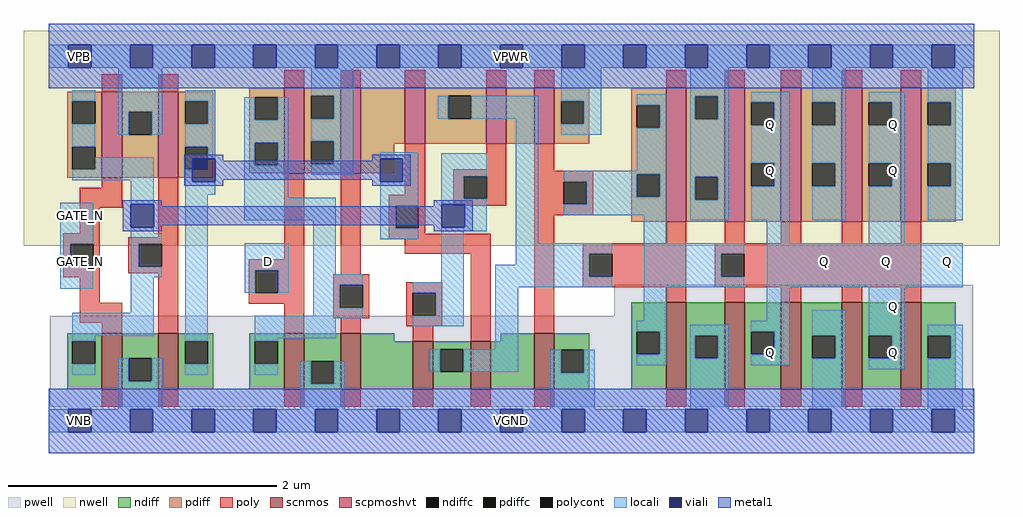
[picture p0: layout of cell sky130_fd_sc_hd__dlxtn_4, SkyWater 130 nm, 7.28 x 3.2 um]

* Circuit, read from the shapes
.subckt sky130_fd_sc_hd__dlxtn_4 D GATE_N VGND VNB VPB VPWR Q
XM1 VGND GATE_N n1 VNB sky130_fd_pr__nfet_01v8 w=0.42 l=0.15
XM2 n2 n1 VGND VNB sky130_fd_pr__nfet_01v8 w=0.42 l=0.15
XM3 VGND D n3 VNB sky130_fd_pr__nfet_01v8 w=0.42 l=0.15
XM4 n4 n3 VGND VNB sky130_fd_pr__nfet_01v8 w=0.42 l=0.15
XM5 n5 n1 n4 VNB sky130_fd_pr__nfet_01v8 w=0.36 l=0.15
XM6 n6 n2 n5 VNB sky130_fd_pr__nfet_01v8 w=0.36 l=0.15
XM7 VGND n7 n6 VNB sky130_fd_pr__nfet_01v8 w=0.42 l=0.15
XM8 VGND n5 n7 VNB sky130_fd_pr__nfet_01v8 w=0.65 l=0.15
XM9 Q n7 VGND VNB sky130_fd_pr__nfet_01v8 w=0.65 l=0.15 m=4
XM10 VPWR GATE_N n1 VPB sky130_fd_pr__pfet_01v8_hvt w=0.64 l=0.15
XM11 n2 n1 VPWR VPB sky130_fd_pr__pfet_01v8_hvt w=0.64 l=0.15
XM12 VPWR D n3 VPB sky130_fd_pr__pfet_01v8_hvt w=0.64 l=0.15
XM13 n8 n3 VPWR VPB sky130_fd_pr__pfet_01v8_hvt w=0.64 l=0.15
XM14 n5 n2 n8 VPB sky130_fd_pr__pfet_01v8_hvt w=0.42 l=0.15
XM15 n9 n1 n5 VPB sky130_fd_pr__pfet_01v8_hvt w=0.42 l=0.15
XM16 VPWR n7 n9 VPB sky130_fd_pr__pfet_01v8_hvt w=0.42 l=0.15
XM17 VPWR n5 n7 VPB sky130_fd_pr__pfet_01v8_hvt w=1 l=0.15
XM18 Q n7 VPWR VPB sky130_fd_pr__pfet_01v8_hvt w=1 l=0.15 m=4
.ends

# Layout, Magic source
magic
tech sky130B
magscale 1 2
<< nwell >>
rect -38 261 1418 582
<< pwell >>
rect 843 157 1379 203
rect 1 21 1379 157
rect 29 -17 63 21
<< scnmos >>
rect 79 47 109 131
rect 163 47 193 131
rect 351 47 381 131
rect 435 47 465 131
rect 543 47 573 119
rect 629 47 659 119
rect 724 47 754 131
rect 921 47 951 177
rect 1008 47 1038 177
rect 1092 47 1122 177
rect 1183 47 1213 177
rect 1271 47 1301 177
<< scpmoshvt >>
rect 79 363 109 491
rect 163 363 193 491
rect 351 369 381 497
rect 435 369 465 497
rect 531 413 561 497
rect 652 413 682 497
rect 724 413 754 497
rect 921 297 951 497
rect 1008 297 1038 497
rect 1092 297 1122 497
rect 1183 297 1213 497
rect 1271 297 1301 497
<< ndiff >>
rect 27 119 79 131
rect 27 85 35 119
rect 69 85 79 119
rect 27 47 79 85
rect 109 93 163 131
rect 109 59 119 93
rect 153 59 163 93
rect 109 47 163 59
rect 193 119 245 131
rect 193 85 203 119
rect 237 85 245 119
rect 193 47 245 85
rect 299 119 351 131
rect 299 85 307 119
rect 341 85 351 119
rect 299 47 351 85
rect 381 89 435 131
rect 381 55 391 89
rect 425 55 435 89
rect 381 47 435 55
rect 465 119 515 131
rect 869 133 921 177
rect 674 119 724 131
rect 465 47 543 119
rect 573 107 629 119
rect 573 73 584 107
rect 618 73 629 107
rect 573 47 629 73
rect 659 47 724 119
rect 754 106 806 131
rect 754 72 764 106
rect 798 72 806 106
rect 754 47 806 72
rect 869 99 877 133
rect 911 99 921 133
rect 869 47 921 99
rect 951 127 1008 177
rect 951 93 964 127
rect 998 93 1008 127
rect 951 47 1008 93
rect 1038 133 1092 177
rect 1038 99 1048 133
rect 1082 99 1092 133
rect 1038 47 1092 99
rect 1122 127 1183 177
rect 1122 93 1139 127
rect 1173 93 1183 127
rect 1122 47 1183 93
rect 1213 127 1271 177
rect 1213 93 1223 127
rect 1257 93 1271 127
rect 1213 47 1271 93
rect 1301 127 1353 177
rect 1301 93 1311 127
rect 1345 93 1353 127
rect 1301 47 1353 93
<< pdiff >>
rect 27 477 79 491
rect 27 443 35 477
rect 69 443 79 477
rect 27 409 79 443
rect 27 375 35 409
rect 69 375 79 409
rect 27 363 79 375
rect 109 461 163 491
rect 109 427 119 461
rect 153 427 163 461
rect 109 363 163 427
rect 193 477 245 491
rect 193 443 203 477
rect 237 443 245 477
rect 193 409 245 443
rect 193 375 203 409
rect 237 375 245 409
rect 193 363 245 375
rect 299 483 351 497
rect 299 449 307 483
rect 341 449 351 483
rect 299 415 351 449
rect 299 381 307 415
rect 341 381 351 415
rect 299 369 351 381
rect 381 485 435 497
rect 381 451 391 485
rect 425 451 435 485
rect 381 417 435 451
rect 381 383 391 417
rect 425 383 435 417
rect 381 369 435 383
rect 465 413 531 497
rect 561 485 652 497
rect 561 451 596 485
rect 630 451 652 485
rect 561 413 652 451
rect 682 413 724 497
rect 754 477 806 497
rect 754 443 764 477
rect 798 443 806 477
rect 754 413 806 443
rect 869 471 921 497
rect 869 437 877 471
rect 911 437 921 471
rect 465 369 515 413
rect 869 368 921 437
rect 869 334 877 368
rect 911 334 921 368
rect 869 297 921 334
rect 951 484 1008 497
rect 951 450 964 484
rect 998 450 1008 484
rect 951 364 1008 450
rect 951 330 964 364
rect 998 330 1008 364
rect 951 297 1008 330
rect 1038 475 1092 497
rect 1038 441 1048 475
rect 1082 441 1092 475
rect 1038 384 1092 441
rect 1038 350 1048 384
rect 1082 350 1092 384
rect 1038 297 1092 350
rect 1122 475 1183 497
rect 1122 441 1139 475
rect 1173 441 1183 475
rect 1122 384 1183 441
rect 1122 350 1139 384
rect 1173 350 1183 384
rect 1122 297 1183 350
rect 1213 475 1271 497
rect 1213 441 1223 475
rect 1257 441 1271 475
rect 1213 384 1271 441
rect 1213 350 1223 384
rect 1257 350 1271 384
rect 1213 297 1271 350
rect 1301 475 1353 497
rect 1301 441 1311 475
rect 1345 441 1353 475
rect 1301 384 1353 441
rect 1301 350 1311 384
rect 1345 350 1353 384
rect 1301 297 1353 350
<< ndiffc >>
rect 35 85 69 119
rect 119 59 153 93
rect 203 85 237 119
rect 307 85 341 119
rect 391 55 425 89
rect 584 73 618 107
rect 764 72 798 106
rect 877 99 911 133
rect 964 93 998 127
rect 1048 99 1082 133
rect 1139 93 1173 127
rect 1223 93 1257 127
rect 1311 93 1345 127
<< pdiffc >>
rect 35 443 69 477
rect 35 375 69 409
rect 119 427 153 461
rect 203 443 237 477
rect 203 375 237 409
rect 307 449 341 483
rect 307 381 341 415
rect 391 451 425 485
rect 391 383 425 417
rect 596 451 630 485
rect 764 443 798 477
rect 877 437 911 471
rect 877 334 911 368
rect 964 450 998 484
rect 964 330 998 364
rect 1048 441 1082 475
rect 1048 350 1082 384
rect 1139 441 1173 475
rect 1139 350 1173 384
rect 1223 441 1257 475
rect 1223 350 1257 384
rect 1311 441 1345 475
rect 1311 350 1345 384
<< poly >>
rect 79 491 109 517
rect 163 491 193 517
rect 351 497 381 523
rect 435 497 465 523
rect 531 497 561 523
rect 652 497 682 523
rect 724 497 754 523
rect 921 497 951 523
rect 1008 497 1038 523
rect 1092 497 1122 523
rect 1183 497 1213 523
rect 1271 497 1301 523
rect 79 348 109 363
rect 46 318 109 348
rect 46 280 76 318
rect 21 264 76 280
rect 163 274 193 363
rect 21 230 32 264
rect 66 230 76 264
rect 21 214 76 230
rect 118 264 193 274
rect 118 230 134 264
rect 168 230 193 264
rect 351 241 381 369
rect 118 220 193 230
rect 46 176 76 214
rect 46 146 109 176
rect 79 131 109 146
rect 163 131 193 220
rect 298 225 381 241
rect 298 191 308 225
rect 342 191 381 225
rect 435 219 465 369
rect 531 337 561 413
rect 652 375 682 413
rect 507 321 561 337
rect 603 365 682 375
rect 603 331 619 365
rect 653 331 682 365
rect 603 321 682 331
rect 724 373 754 413
rect 724 357 812 373
rect 724 323 768 357
rect 802 323 812 357
rect 507 287 517 321
rect 551 287 561 321
rect 507 279 561 287
rect 724 307 812 323
rect 507 271 659 279
rect 531 249 659 271
rect 298 175 381 191
rect 351 131 381 175
rect 424 203 478 219
rect 424 169 434 203
rect 468 169 478 203
rect 424 153 478 169
rect 533 191 587 207
rect 533 157 543 191
rect 577 157 587 191
rect 435 131 465 153
rect 533 141 587 157
rect 543 119 573 141
rect 629 119 659 249
rect 724 131 754 307
rect 921 265 951 297
rect 1008 265 1038 297
rect 1092 265 1122 297
rect 1183 265 1213 297
rect 1271 265 1301 297
rect 796 249 951 265
rect 796 215 806 249
rect 840 215 951 249
rect 796 199 951 215
rect 993 249 1301 265
rect 993 215 1003 249
rect 1037 215 1301 249
rect 993 199 1301 215
rect 921 177 951 199
rect 1008 177 1038 199
rect 1092 177 1122 199
rect 1183 177 1213 199
rect 1271 177 1301 199
rect 79 21 109 47
rect 163 21 193 47
rect 351 21 381 47
rect 435 21 465 47
rect 543 21 573 47
rect 629 21 659 47
rect 724 21 754 47
rect 921 21 951 47
rect 1008 21 1038 47
rect 1092 21 1122 47
rect 1183 21 1213 47
rect 1271 21 1301 47
<< polycont >>
rect 32 230 66 264
rect 134 230 168 264
rect 308 191 342 225
rect 619 331 653 365
rect 768 323 802 357
rect 517 287 551 321
rect 434 169 468 203
rect 543 157 577 191
rect 806 215 840 249
rect 1003 215 1037 249
<< locali >>
rect 0 527 29 561
rect 63 527 121 561
rect 155 527 213 561
rect 247 527 305 561
rect 339 527 397 561
rect 431 527 489 561
rect 523 527 581 561
rect 615 527 673 561
rect 707 527 765 561
rect 799 527 857 561
rect 891 527 949 561
rect 983 527 1041 561
rect 1075 527 1133 561
rect 1167 527 1225 561
rect 1259 527 1317 561
rect 1351 527 1380 561
rect 35 477 69 493
rect 35 409 69 443
rect 103 461 169 527
rect 103 427 119 461
rect 153 427 169 461
rect 203 477 248 493
rect 391 485 454 527
rect 237 443 248 477
rect 203 409 248 443
rect 69 375 156 393
rect 35 359 156 375
rect 17 264 66 325
rect 17 230 32 264
rect 17 197 66 230
rect 122 323 156 359
rect 122 280 156 289
rect 237 391 248 409
rect 203 357 214 375
rect 203 337 248 357
rect 291 449 307 483
rect 341 449 357 483
rect 291 415 357 449
rect 291 381 307 415
rect 341 381 357 415
rect 122 264 168 280
rect 122 230 134 264
rect 122 214 168 230
rect 122 161 156 214
rect 35 127 156 161
rect 35 119 69 127
rect 203 119 237 337
rect 291 333 357 381
rect 425 451 454 485
rect 580 451 596 485
rect 630 451 730 485
rect 391 417 454 451
rect 425 383 454 417
rect 391 367 454 383
rect 494 391 551 401
rect 528 357 551 391
rect 291 299 428 333
rect 292 225 358 265
rect 292 191 308 225
rect 342 191 358 225
rect 394 219 428 299
rect 494 321 551 357
rect 494 287 517 321
rect 494 271 551 287
rect 585 365 653 399
rect 585 331 619 365
rect 585 323 653 331
rect 585 289 586 323
rect 620 289 653 323
rect 585 283 653 289
rect 394 203 468 219
rect 585 207 619 283
rect 696 265 730 451
rect 764 477 824 527
rect 798 443 824 477
rect 764 427 824 443
rect 877 471 921 487
rect 911 437 921 471
rect 877 373 921 437
rect 768 368 921 373
rect 768 357 877 368
rect 802 334 877 357
rect 911 334 921 368
rect 802 323 921 334
rect 768 307 921 323
rect 887 265 921 307
rect 957 484 1014 527
rect 957 450 964 484
rect 998 450 1014 484
rect 957 364 1014 450
rect 957 330 964 364
rect 998 330 1014 364
rect 957 299 1014 330
rect 1048 475 1105 491
rect 1082 441 1105 475
rect 1048 384 1105 441
rect 1082 350 1105 384
rect 1048 299 1105 350
rect 1139 475 1189 527
rect 1173 441 1189 475
rect 1139 384 1189 441
rect 1173 350 1189 384
rect 1139 299 1189 350
rect 1223 475 1277 491
rect 1257 441 1277 475
rect 1223 384 1277 441
rect 1257 350 1277 384
rect 1071 265 1105 299
rect 1223 265 1277 350
rect 1311 475 1363 527
rect 1345 441 1363 475
rect 1311 384 1363 441
rect 1345 350 1363 384
rect 1311 299 1363 350
rect 696 249 840 265
rect 696 233 806 249
rect 394 169 434 203
rect 394 157 468 169
rect 35 69 69 85
rect 103 59 119 93
rect 153 59 169 93
rect 203 69 237 85
rect 307 153 468 157
rect 543 191 619 207
rect 577 157 619 191
rect 307 123 428 153
rect 543 141 619 157
rect 666 215 806 233
rect 666 199 840 215
rect 887 249 1037 265
rect 887 215 1003 249
rect 887 199 1037 215
rect 1071 199 1363 265
rect 307 119 341 123
rect 666 107 700 199
rect 887 149 921 199
rect 1071 149 1105 199
rect 307 69 341 85
rect 103 17 169 59
rect 375 55 391 89
rect 425 55 441 89
rect 568 73 584 107
rect 618 73 700 107
rect 877 133 921 149
rect 375 17 441 55
rect 748 72 764 106
rect 798 72 814 106
rect 911 99 921 133
rect 877 83 921 99
rect 957 127 1014 143
rect 957 93 964 127
rect 998 93 1014 127
rect 748 17 814 72
rect 957 17 1014 93
rect 1048 133 1105 149
rect 1082 99 1105 133
rect 1048 83 1105 99
rect 1139 127 1189 165
rect 1173 93 1189 127
rect 1139 17 1189 93
rect 1223 127 1277 199
rect 1257 93 1277 127
rect 1223 77 1277 93
rect 1311 127 1363 143
rect 1345 93 1363 127
rect 1311 17 1363 93
rect 0 -17 29 17
rect 63 -17 121 17
rect 155 -17 213 17
rect 247 -17 305 17
rect 339 -17 397 17
rect 431 -17 489 17
rect 523 -17 581 17
rect 615 -17 673 17
rect 707 -17 765 17
rect 799 -17 857 17
rect 891 -17 949 17
rect 983 -17 1041 17
rect 1075 -17 1133 17
rect 1167 -17 1225 17
rect 1259 -17 1317 17
rect 1351 -17 1380 17
<< viali >>
rect 29 527 63 561
rect 121 527 155 561
rect 213 527 247 561
rect 305 527 339 561
rect 397 527 431 561
rect 489 527 523 561
rect 581 527 615 561
rect 673 527 707 561
rect 765 527 799 561
rect 857 527 891 561
rect 949 527 983 561
rect 1041 527 1075 561
rect 1133 527 1167 561
rect 1225 527 1259 561
rect 1317 527 1351 561
rect 122 289 156 323
rect 214 375 237 391
rect 237 375 248 391
rect 214 357 248 375
rect 494 357 528 391
rect 586 289 620 323
rect 29 -17 63 17
rect 121 -17 155 17
rect 213 -17 247 17
rect 305 -17 339 17
rect 397 -17 431 17
rect 489 -17 523 17
rect 581 -17 615 17
rect 673 -17 707 17
rect 765 -17 799 17
rect 857 -17 891 17
rect 949 -17 983 17
rect 1041 -17 1075 17
rect 1133 -17 1167 17
rect 1225 -17 1259 17
rect 1317 -17 1351 17
<< metal1 >>
rect 0 561 1380 592
rect 0 527 29 561
rect 63 527 121 561
rect 155 527 213 561
rect 247 527 305 561
rect 339 527 397 561
rect 431 527 489 561
rect 523 527 581 561
rect 615 527 673 561
rect 707 527 765 561
rect 799 527 857 561
rect 891 527 949 561
rect 983 527 1041 561
rect 1075 527 1133 561
rect 1167 527 1225 561
rect 1259 527 1317 561
rect 1351 527 1380 561
rect 0 496 1380 527
rect 202 391 260 397
rect 202 357 214 391
rect 248 388 260 391
rect 482 391 540 397
rect 482 388 494 391
rect 248 360 494 388
rect 248 357 260 360
rect 202 351 260 357
rect 482 357 494 360
rect 528 357 540 391
rect 482 351 540 357
rect 110 323 168 329
rect 110 289 122 323
rect 156 320 168 323
rect 574 323 632 329
rect 574 320 586 323
rect 156 292 586 320
rect 156 289 168 292
rect 110 283 168 289
rect 574 289 586 292
rect 620 289 632 323
rect 574 283 632 289
rect 0 17 1380 48
rect 0 -17 29 17
rect 63 -17 121 17
rect 155 -17 213 17
rect 247 -17 305 17
rect 339 -17 397 17
rect 431 -17 489 17
rect 523 -17 581 17
rect 615 -17 673 17
rect 707 -17 765 17
rect 799 -17 857 17
rect 891 -17 949 17
rect 983 -17 1041 17
rect 1075 -17 1133 17
rect 1167 -17 1225 17
rect 1259 -17 1317 17
rect 1351 -17 1380 17
rect 0 -48 1380 -17
<< labels >>
flabel locali s 310 221 344 255 0 FreeSans 200 0 0 0 D
port 1 nsew signal input
flabel locali s 30 221 64 255 0 FreeSans 200 0 0 0 GATE_N
port 2 nsew clock input
flabel locali s 1059 357 1093 391 0 FreeSans 200 0 0 0 Q
port 7 nsew signal output
flabel locali s 30 289 64 323 0 FreeSans 200 0 0 0 GATE_N
port 2 nsew clock input
flabel locali s 1059 425 1093 459 0 FreeSans 200 0 0 0 Q
port 7 nsew signal output
flabel locali s 1059 85 1093 119 0 FreeSans 200 0 0 0 Q
port 7 nsew signal output
flabel locali s 1140 221 1174 255 0 FreeSans 200 0 0 0 Q
port 7 nsew signal output
flabel locali s 1232 221 1266 255 0 FreeSans 200 0 0 0 Q
port 7 nsew signal output
flabel locali s 1324 221 1358 255 0 FreeSans 200 0 0 0 Q
port 7 nsew signal output
flabel locali s 1243 357 1277 391 0 FreeSans 200 0 0 0 Q
port 7 nsew signal output
flabel locali s 1243 425 1277 459 0 FreeSans 200 0 0 0 Q
port 7 nsew signal output
flabel locali s 1243 153 1277 187 0 FreeSans 200 0 0 0 Q
port 7 nsew signal output
flabel locali s 1243 85 1277 119 0 FreeSans 200 0 0 0 Q
port 7 nsew signal output
flabel pwell s 29 -17 63 17 0 FreeSans 200 0 0 0 VNB
port 4 nsew ground bidirectional
flabel nwell s 29 527 63 561 0 FreeSans 200 0 0 0 VPB
port 5 nsew power bidirectional
flabel metal1 s 29 527 63 561 0 FreeSans 200 0 0 0 VPWR
port 6 nsew power bidirectional abutment
flabel metal1 s 29 -17 63 17 0 FreeSans 200 0 0 0 VGND
port 3 nsew ground bidirectional abutment
rlabel comment s 0 0 0 0 4 dlxtn_4
rlabel metal1 s 0 -48 1380 48 1 VGND
port 3 nsew ground bidirectional abutment
rlabel metal1 s 0 496 1380 592 1 VPWR
port 6 nsew power bidirectional abutment
<< properties >>
string FIXED_BBOX 0 0 1380 544
string GDS_END 2866556
string GDS_FILE $PDKPATH/libs.ref/sky130_fd_sc_hd/gds/sky130_fd_sc_hd.gds
string GDS_START 2854864
string LEFclass CORE
string LEFsite unithd
string LEFsymmetry X Y R90
string path 0.000 13.600 34.500 13.600 
<< end >>
